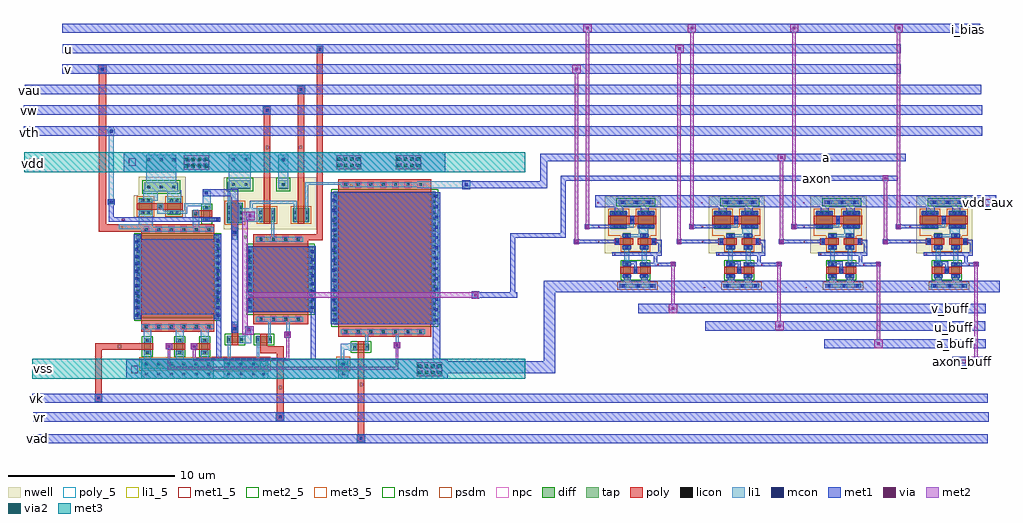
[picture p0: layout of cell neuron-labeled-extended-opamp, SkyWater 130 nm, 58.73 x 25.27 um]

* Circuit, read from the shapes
.subckt neuron-labeled-extended-opamp a a_buff axon axon_buff i_bias u u_buff v v_buff vad vau vdd vdd_aux vk vr vss vth vw
XM1 vss v vss vss sky130_fd_pr__nfet_01v8 w=5 l=4.4
XM2 v vk vss vss sky130_fd_pr__nfet_01v8 w=0.42 l=0.4
XM3 v a vss vss sky130_fd_pr__nfet_01v8 w=0.42 l=0.4
XM4 v u vss vss sky130_fd_pr__nfet_01v8 w=0.42 l=0.4
XM5 n1 v vth vss sky130_fd_pr__nfet_01v8 w=0.42 l=0.4
XM6 axon n1 vss vss sky130_fd_pr__nfet_01v8 w=0.42 l=0.4
XM7 vss u vss vss sky130_fd_pr__nfet_01v8 w=4 l=3.3
XM8 u vr vss vss sky130_fd_pr__nfet_01v8 w=0.42 l=0.4
XM9 vss a vss vss sky130_fd_pr__nfet_01v8 w=8 l=5.6
XM10 a vad vss vss sky130_fd_pr__nfet_01v8 w=0.42 l=0.4
XM11 n2 n2 vss vss sky130_fd_pr__nfet_01v8 w=0.5 l=0.4
XM12 v_buff n2 vss vss sky130_fd_pr__nfet_01v8 w=0.5 l=0.4
XM13 n3 n3 vss vss sky130_fd_pr__nfet_01v8 w=0.5 l=0.4
XM14 u_buff n3 vss vss sky130_fd_pr__nfet_01v8 w=0.5 l=0.4
XM15 n4 n4 vss vss sky130_fd_pr__nfet_01v8 w=0.5 l=0.4
XM16 a_buff n4 vss vss sky130_fd_pr__nfet_01v8 w=0.5 l=0.4
XM17 n5 n5 vss vss sky130_fd_pr__nfet_01v8 w=0.5 l=0.4
XM18 axon_buff n5 vss vss sky130_fd_pr__nfet_01v8 w=0.5 l=0.4
XM19 vdd n1 v vdd sky130_fd_pr__pfet_01v8 w=0.8 l=0.4
XM20 vdd n1 n1 vdd sky130_fd_pr__pfet_01v8 w=0.8 l=0.4
XM21 axon n1 vdd vdd sky130_fd_pr__pfet_01v8 w=1.2 l=0.4
XM22 u vw axon vdd sky130_fd_pr__pfet_01v8 w=0.8 l=0.4
XM23 a vau axon vdd sky130_fd_pr__pfet_01v8 w=0.8 l=0.4
XM24 vdd_aux i_bias i_bias vdd_aux sky130_fd_pr__pfet_01v8 w=1 l=0.5 m=4
XM25 n6 v n2 vdd_aux sky130_fd_pr__pfet_01v8 w=0.5 l=0.4
XM26 vdd_aux i_bias n6 vdd_aux sky130_fd_pr__pfet_01v8 w=1 l=0.5
XM27 n6 v_buff v_buff vdd_aux sky130_fd_pr__pfet_01v8 w=0.5 l=0.4
XM28 n7 u n3 vdd_aux sky130_fd_pr__pfet_01v8 w=0.5 l=0.4
XM29 vdd_aux i_bias n7 vdd_aux sky130_fd_pr__pfet_01v8 w=1 l=0.5
XM30 n7 u_buff u_buff vdd_aux sky130_fd_pr__pfet_01v8 w=0.5 l=0.4
XM31 n8 a n4 vdd_aux sky130_fd_pr__pfet_01v8 w=0.5 l=0.4
XM32 vdd_aux i_bias n8 vdd_aux sky130_fd_pr__pfet_01v8 w=1 l=0.5
XM33 n8 a_buff a_buff vdd_aux sky130_fd_pr__pfet_01v8 w=0.5 l=0.4
XM34 n9 axon n5 vdd_aux sky130_fd_pr__pfet_01v8 w=0.5 l=0.4
XM35 vdd_aux i_bias n9 vdd_aux sky130_fd_pr__pfet_01v8 w=1 l=0.5
XM36 n9 axon_buff axon_buff vdd_aux sky130_fd_pr__pfet_01v8 w=0.5 l=0.4
.ends

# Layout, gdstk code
from math import pi, radians
import gdstk
lib = gdstk.Library(unit=1e-6, precision=1e-09)
def R(c, l, rs):  # rectangles x0, y0, x1, y1
    for r in rs: c.add(gdstk.rectangle(r[:2], r[2:], *l))
def A(c, l, x, y, w, h, nx, ny, dx, dy):  # array of equal rectangles
    R(c, l, [(x+i*dx, y+j*dy, x+i*dx+w, y+j*dy+h) for i in range(nx) for j in range(ny)])
nwell = (64, 20)
diff = (65, 20)
tap = (65, 44)
poly_5 = (66, 5)
poly = (66, 20)
licon = (66, 44)
li1_5 = (67, 5)
li1 = (67, 20)
mcon = (67, 44)
met1_5 = (68, 5)
met1 = (68, 20)
via = (68, 44)
met2_5 = (69, 5)
met2 = (69, 20)
via2 = (69, 44)
met3_5 = (70, 5)
met3 = (70, 20)
nsdm = (93, 44)
psdm = (94, 20)
npc = (95, 20)

sky130_fd_pr__pfet_01v8_ = lib.new_cell('sky130_fd_pr__pfet_01v8_4ujh9u')
R(sky130_fd_pr__pfet_01v8_, nwell, [(-0.72,-0.99,0.72,0.82)])
R(sky130_fd_pr__pfet_01v8_, diff, [(-0.54,-0.68,0.54,0.32)])
R(sky130_fd_pr__pfet_01v8_, poly, [(-0.25,-0.81,0.25,0.805)])
A(sky130_fd_pr__pfet_01v8_, licon, -0.48, -0.605, 0.17, 0.17, 1, 3, 0, 0.34)
A(sky130_fd_pr__pfet_01v8_, licon, 0.31, -0.605, 0.17, 0.17, 1, 3, 0, 0.34)
R(sky130_fd_pr__pfet_01v8_, licon, [(-0.085,0.555,0.085,0.725)])
R(sky130_fd_pr__pfet_01v8_, li1, [(-0.48,-0.7,-0.31,0.34), (0.31,-0.7,0.48,0.34), (-0.25,0.555,0.25,0.725)])
R(sky130_fd_pr__pfet_01v8_, mcon, [(-0.48,-0.445,-0.31,-0.275), (0.31,-0.445,0.48,-0.275), (-0.48,-0.085,-0.31,0.085), (0.31,-0.085,0.48,0.085), (-0.085,0.555,0.085,0.725)])
R(sky130_fd_pr__pfet_01v8_, met1, [(-0.51,-0.68,-0.28,0.32), (0.28,-0.68,0.51,0.32), (-0.23,0.525,0.23,0.755)])
R(sky130_fd_pr__pfet_01v8_, psdm, [(-0.665,-0.805,0.665,0.445)])
R(sky130_fd_pr__pfet_01v8_, npc, [(-0.185,0.455,0.185,0.825)])

sky130_fd_pr__nfet_01v8_ = lib.new_cell('sky130_fd_pr__nfet_01v8_r0atdz')
R(sky130_fd_pr__nfet_01v8_, diff, [(-0.49,-0.405,0.49,0.095)])
R(sky130_fd_pr__nfet_01v8_, poly, [(-0.2,-0.535,0.2,0.535)])
R(sky130_fd_pr__nfet_01v8_, licon, [(-0.43,-0.24,-0.26,-0.07), (0.26,-0.24,0.43,-0.07), (-0.085,0.285,0.085,0.455)])
R(sky130_fd_pr__nfet_01v8_, li1, [(-0.43,-0.425,-0.26,0.115), (0.26,-0.425,0.43,0.115), (-0.2,0.285,0.2,0.455)])
R(sky130_fd_pr__nfet_01v8_, mcon, [(-0.43,-0.24,-0.26,-0.07), (0.26,-0.24,0.43,-0.07), (-0.085,0.285,0.085,0.455)])
R(sky130_fd_pr__nfet_01v8_, met1, [(-0.46,-0.405,-0.23,0.095), (0.23,-0.405,0.46,0.095), (-0.18,0.255,0.18,0.485)])
R(sky130_fd_pr__nfet_01v8_, nsdm, [(-0.615,-0.53,0.615,0.22)])
R(sky130_fd_pr__nfet_01v8_, npc, [(-0.185,0.185,0.185,0.555)])

c_sky130_fd_pr__pfet_01v8_ = lib.new_cell('sky130_fd_pr__pfet_01v8_4pknhj')
R(c_sky130_fd_pr__pfet_01v8_, nwell, [(-0.67,-0.74,0.67,0.57)])
R(c_sky130_fd_pr__pfet_01v8_, diff, [(-0.49,-0.43,0.49,0.07)])
R(c_sky130_fd_pr__pfet_01v8_, poly, [(-0.2,-0.56,0.2,0.555)])
R(c_sky130_fd_pr__pfet_01v8_, licon, [(-0.43,-0.265,-0.26,-0.095), (0.26,-0.265,0.43,-0.095), (-0.085,0.305,0.085,0.475)])
R(c_sky130_fd_pr__pfet_01v8_, li1, [(-0.43,-0.45,-0.26,0.09), (0.26,-0.45,0.43,0.09), (-0.2,0.305,0.2,0.475)])
R(c_sky130_fd_pr__pfet_01v8_, mcon, [(-0.43,-0.265,-0.26,-0.095), (0.26,-0.265,0.43,-0.095), (-0.085,0.305,0.085,0.475)])
R(c_sky130_fd_pr__pfet_01v8_, met1, [(-0.46,-0.43,-0.23,0.07), (0.23,-0.43,0.46,0.07), (-0.18,0.275,0.18,0.505)])
R(c_sky130_fd_pr__pfet_01v8_, psdm, [(-0.615,-0.555,0.615,0.195)])
R(c_sky130_fd_pr__pfet_01v8_, npc, [(-0.185,0.205,0.185,0.575)])

pmos_diff_amp = lib.new_cell('pmos-diff-amp')
R(pmos_diff_amp, nwell, [(-0.6,-0.025,2.785,3.395)])
R(pmos_diff_amp, tap, [(0.28,-2.11,2.465,-1.875), (0.23,2.91,2.33,3.17)])
R(pmos_diff_amp, licon, [(0.435,-2.075,0.605,-1.905), (1.335,-2.075,1.505,-1.905), (2.14,-2.075,2.31,-1.905), (0.405,2.95,0.575,3.12), (1.22,2.95,1.39,3.12), (1.97,2.95,2.14,3.12)])
R(pmos_diff_amp, li1, [(0.335,-2.095,0.71,-1.885), (1.235,-2.095,1.61,-1.885), (2.04,-2.095,2.415,-1.885), (0.58,-0.71,0.87,0.34), (1.64,-0.71,1.93,0.34), (0.92,0.93,1.575,0.975), (0.92,0.975,2.025,1.1), (1.44,1.1,2.025,1.565), (0.72,1.495,1.145,1.665), (0.975,1.665,1.145,1.805), (0.305,2.93,0.68,3.14), (1.12,2.93,1.495,3.14), (1.87,2.93,2.245,3.14)])
R(pmos_diff_amp, mcon, [(0.435,-2.075,0.605,-1.905), (1.335,-2.075,1.505,-1.905), (2.14,-2.075,2.31,-1.905), (0.405,2.95,0.575,3.12), (1.22,2.95,1.39,3.12), (1.97,2.95,2.14,3.12)])
R(pmos_diff_amp, met1_5, [(-0.88,-2.11,-0.81,-2.06), (2.57,-0.75,2.64,-0.7), (-0.03,-0.11,0.04,-0.06), (-1,0.64,-0.93,0.69), (-1,1.54,-0.93,1.59), (-1.04,2.99,-0.97,3.04)])
R(pmos_diff_amp, met1, [(-1.075,-2.385,3.515,-1.675), (0.565,-1.675,0.955,-1.385), (1.59,-1.675,1.98,-1.38), (1.17,-1.14,1.34,-0.685), (1.82,-0.8,2.815,-0.59), (0.455,-0.685,1.34,-0.515), (-0.135,-0.175,2.825,0.035), (2.615,0.035,2.825,0.57), (-1.065,0.57,0.19,0.78), (2.34,0.57,2.825,0.78), (-1.07,1.47,0.185,1.68), (0.015,2.345,0.51,2.745), (1.57,2.345,2.065,2.745), (-1.155,2.745,3.435,3.455)])
R(pmos_diff_amp, nsdm, [(1.105,-1.665,1.405,-0.435), (0.105,2.785,2.455,3.295)])
R(pmos_diff_amp, psdm, [(0.155,-2.235,2.59,-1.75), (1.105,0.055,1.405,1.285), (-0.385,1.015,0.355,1.285), (2.155,1.015,2.505,1.285), (-0.385,1.285,2.505,1.31), (0.865,1.31,1.255,1.58)])
pmos_diff_amp.add(gdstk.Reference(sky130_fd_pr__pfet_01v8_, (0.42,1.975), rotation=3*pi/2))
pmos_diff_amp.add(gdstk.Reference(sky130_fd_pr__pfet_01v8_, (1.7,1.975), rotation=pi/2))
pmos_diff_amp.add(gdstk.Reference(sky130_fd_pr__nfet_01v8_, (0.885,-1.05), rotation=3*pi/2))
pmos_diff_amp.add(gdstk.Reference(sky130_fd_pr__nfet_01v8_, (1.625,-1.05), rotation=pi/2))
pmos_diff_amp.add(gdstk.Reference(c_sky130_fd_pr__pfet_01v8_, (0.55,0.67), rotation=pi/2))
pmos_diff_amp.add(gdstk.Reference(c_sky130_fd_pr__pfet_01v8_, (1.96,0.67), rotation=3*pi/2))
pmos_diff_amp.add(gdstk.Label('in_1', (-0.965,0.665), layer=68, texttype=5))
pmos_diff_amp.add(gdstk.Label('in_2', (0.005,-0.085), layer=68, texttype=5))
pmos_diff_amp.add(gdstk.Label('out', (2.605,-0.725), layer=68, texttype=5))
pmos_diff_amp.add(gdstk.Label('i_bias', (-0.965,1.565), layer=68, texttype=5))
pmos_diff_amp.add(gdstk.Label('vdd', (-1.005,3.015), layer=68, texttype=5))
pmos_diff_amp.add(gdstk.Label('vss', (-0.845,-2.085), layer=68, texttype=5))

c_sky130_fd_pr__pfet_01v8__ = lib.new_cell('sky130_fd_pr__pfet_01v8_zt2j7p')
R(c_sky130_fd_pr__pfet_01v8__, nwell, [(-0.67,-0.91,0.67,0.91)])
R(c_sky130_fd_pr__pfet_01v8__, diff, [(-0.49,-0.6,0.49,0.6)])
R(c_sky130_fd_pr__pfet_01v8__, poly, [(-0.2,-0.73,0.2,0.73)])
A(c_sky130_fd_pr__pfet_01v8__, licon, -0.43, -0.425, 0.17, 0.17, 1, 3, 0, 0.34)
A(c_sky130_fd_pr__pfet_01v8__, licon, 0.26, -0.425, 0.17, 0.17, 1, 3, 0, 0.34)
R(c_sky130_fd_pr__pfet_01v8__, li1, [(-0.43,-0.62,-0.26,0.62), (0.26,-0.62,0.43,0.62)])
R(c_sky130_fd_pr__pfet_01v8__, psdm, [(-0.615,-0.725,0.615,0.725)])

c_sky130_fd_pr__nfet_01v8_ = lib.new_cell('sky130_fd_pr__nfet_01v8_ckptud')
R(c_sky130_fd_pr__nfet_01v8_, diff, [(-0.49,-0.21,0.49,0.21)])
R(c_sky130_fd_pr__nfet_01v8_, poly, [(-0.2,-0.34,0.2,0.34)])
R(c_sky130_fd_pr__nfet_01v8_, licon, [(-0.43,-0.085,-0.26,0.085), (0.26,-0.085,0.43,0.085)])
R(c_sky130_fd_pr__nfet_01v8_, li1, [(-0.43,-0.23,-0.26,0.23), (0.26,-0.23,0.43,0.23)])
R(c_sky130_fd_pr__nfet_01v8_, nsdm, [(-0.615,-0.335,0.615,0.335)])

c_sky130_fd_pr__nfet_01v8__ = lib.new_cell('sky130_fd_pr__nfet_01v8_h43ndc')
R(c_sky130_fd_pr__nfet_01v8__, diff, [(-0.49,-0.21,0.49,0.21)])
R(c_sky130_fd_pr__nfet_01v8__, poly, [(-0.2,-0.34,0.2,0.34)])
R(c_sky130_fd_pr__nfet_01v8__, licon, [(-0.43,-0.085,-0.26,0.085), (0.26,-0.085,0.43,0.085)])
R(c_sky130_fd_pr__nfet_01v8__, li1, [(-0.43,-0.23,-0.26,0.23), (0.26,-0.23,0.43,0.23)])
R(c_sky130_fd_pr__nfet_01v8__, nsdm, [(-0.615,-0.335,0.615,0.335)])

c_sky130_fd_pr__nfet_01v8___ = lib.new_cell('sky130_fd_pr__nfet_01v8_s3efqo')
R(c_sky130_fd_pr__nfet_01v8___, diff, [(-0.49,-0.21,0.49,0.21)])
R(c_sky130_fd_pr__nfet_01v8___, poly, [(-0.2,-0.34,0.2,0.34)])
R(c_sky130_fd_pr__nfet_01v8___, licon, [(-0.43,-0.085,-0.26,0.085), (0.26,-0.085,0.43,0.085)])
R(c_sky130_fd_pr__nfet_01v8___, li1, [(-0.43,-0.23,-0.26,0.23), (0.26,-0.23,0.43,0.23)])
R(c_sky130_fd_pr__nfet_01v8___, nsdm, [(-0.615,-0.335,0.615,0.335)])

c_sky130_fd_pr__nfet_01v8____ = lib.new_cell('sky130_fd_pr__nfet_01v8_zgaw3c')
R(c_sky130_fd_pr__nfet_01v8____, diff, [(-0.49,-0.21,0.49,0.21)])
R(c_sky130_fd_pr__nfet_01v8____, poly, [(-0.2,-0.34,0.2,0.34)])
R(c_sky130_fd_pr__nfet_01v8____, licon, [(-0.43,-0.085,-0.26,0.085), (0.26,-0.085,0.43,0.085)])
R(c_sky130_fd_pr__nfet_01v8____, li1, [(-0.43,-0.23,-0.26,0.23), (0.26,-0.23,0.43,0.23)])
R(c_sky130_fd_pr__nfet_01v8____, nsdm, [(-0.615,-0.335,0.615,0.335)])

c_sky130_fd_pr__pfet_01v8___ = lib.new_cell('sky130_fd_pr__pfet_01v8_u061qr')
R(c_sky130_fd_pr__pfet_01v8___, nwell, [(-0.67,-0.71,0.67,0.71)])
R(c_sky130_fd_pr__pfet_01v8___, diff, [(-0.49,-0.4,0.49,0.4)])
R(c_sky130_fd_pr__pfet_01v8___, poly, [(-0.2,-0.53,0.2,0.53)])
R(c_sky130_fd_pr__pfet_01v8___, licon, [(-0.43,-0.255,-0.26,-0.085), (0.26,-0.255,0.43,-0.085), (-0.43,0.085,-0.26,0.255), (0.26,0.085,0.43,0.255)])
R(c_sky130_fd_pr__pfet_01v8___, li1, [(-0.43,-0.42,-0.26,0.42), (0.26,-0.42,0.43,0.42)])
R(c_sky130_fd_pr__pfet_01v8___, psdm, [(-0.615,-0.525,0.615,0.525)])

c_sky130_fd_pr__nfet_01v8_____ = lib.new_cell('sky130_fd_pr__nfet_01v8_lca7f7')
R(c_sky130_fd_pr__nfet_01v8_____, diff, [(-0.49,-0.21,0.49,0.21)])
R(c_sky130_fd_pr__nfet_01v8_____, poly, [(-0.2,-0.34,0.2,0.34)])
R(c_sky130_fd_pr__nfet_01v8_____, licon, [(-0.43,-0.085,-0.26,0.085), (0.26,-0.085,0.43,0.085)])
R(c_sky130_fd_pr__nfet_01v8_____, li1, [(-0.43,-0.23,-0.26,0.23), (0.26,-0.23,0.43,0.23)])
R(c_sky130_fd_pr__nfet_01v8_____, nsdm, [(-0.615,-0.335,0.615,0.335)])

c_sky130_fd_pr__nfet_01v8______ = lib.new_cell('sky130_fd_pr__nfet_01v8_9hqhhq')
R(c_sky130_fd_pr__nfet_01v8______, diff, [(-2.49,-2.5,2.49,2.5)])
R(c_sky130_fd_pr__nfet_01v8______, poly, [(-2.2,-2.63,2.2,2.63)])
A(c_sky130_fd_pr__nfet_01v8______, licon, -2.43, -2.295, 0.17, 0.17, 1, 14, 0, 0.34)
A(c_sky130_fd_pr__nfet_01v8______, licon, 2.26, -2.295, 0.17, 0.17, 1, 14, 0, 0.34)
R(c_sky130_fd_pr__nfet_01v8______, li1, [(-2.43,-2.52,-2.26,2.52), (2.26,-2.52,2.43,2.52)])
R(c_sky130_fd_pr__nfet_01v8______, nsdm, [(-2.615,-2.625,2.615,2.625)])

c_sky130_fd_pr__pfet_01v8____ = lib.new_cell('sky130_fd_pr__pfet_01v8_h2n75u')
R(c_sky130_fd_pr__pfet_01v8____, nwell, [(-0.67,-0.71,0.67,0.71)])
R(c_sky130_fd_pr__pfet_01v8____, diff, [(-0.49,-0.4,0.49,0.4)])
R(c_sky130_fd_pr__pfet_01v8____, poly, [(-0.2,-0.53,0.2,0.53)])
R(c_sky130_fd_pr__pfet_01v8____, licon, [(-0.43,-0.255,-0.26,-0.085), (0.26,-0.255,0.43,-0.085), (-0.43,0.085,-0.26,0.255), (0.26,0.085,0.43,0.255)])
R(c_sky130_fd_pr__pfet_01v8____, li1, [(-0.43,-0.42,-0.26,0.42), (0.26,-0.42,0.43,0.42)])
R(c_sky130_fd_pr__pfet_01v8____, psdm, [(-0.615,-0.525,0.615,0.525)])

c_sky130_fd_pr__pfet_01v8_____ = lib.new_cell('sky130_fd_pr__pfet_01v8_6z4qh8')
R(c_sky130_fd_pr__pfet_01v8_____, nwell, [(-0.67,-0.71,0.67,0.71)])
R(c_sky130_fd_pr__pfet_01v8_____, diff, [(-0.49,-0.4,0.49,0.4)])
R(c_sky130_fd_pr__pfet_01v8_____, poly, [(-0.2,-0.53,0.2,0.53)])
R(c_sky130_fd_pr__pfet_01v8_____, licon, [(-0.43,-0.255,-0.26,-0.085), (0.26,-0.255,0.43,-0.085), (-0.43,0.085,-0.26,0.255), (0.26,0.085,0.43,0.255)])
R(c_sky130_fd_pr__pfet_01v8_____, li1, [(-0.43,-0.42,-0.26,0.42), (0.26,-0.42,0.43,0.42)])
R(c_sky130_fd_pr__pfet_01v8_____, psdm, [(-0.615,-0.525,0.615,0.525)])

c_sky130_fd_pr__nfet_01v8_______ = lib.new_cell('sky130_fd_pr__nfet_01v8_9i6r5e')
R(c_sky130_fd_pr__nfet_01v8_______, diff, [(-0.49,-0.21,0.49,0.21)])
R(c_sky130_fd_pr__nfet_01v8_______, poly, [(-0.2,-0.34,0.2,0.34)])
R(c_sky130_fd_pr__nfet_01v8_______, licon, [(-0.43,-0.085,-0.26,0.085), (0.26,-0.085,0.43,0.085)])
R(c_sky130_fd_pr__nfet_01v8_______, li1, [(-0.43,-0.23,-0.26,0.23), (0.26,-0.23,0.43,0.23)])
R(c_sky130_fd_pr__nfet_01v8_______, nsdm, [(-0.615,-0.335,0.615,0.335)])

c_sky130_fd_pr__pfet_01v8______ = lib.new_cell('sky130_fd_pr__pfet_01v8_2vaynq')
R(c_sky130_fd_pr__pfet_01v8______, nwell, [(-0.67,-0.71,0.67,0.71)])
R(c_sky130_fd_pr__pfet_01v8______, diff, [(-0.49,-0.4,0.49,0.4)])
R(c_sky130_fd_pr__pfet_01v8______, poly, [(-0.2,-0.53,0.2,0.53)])
R(c_sky130_fd_pr__pfet_01v8______, licon, [(-0.43,-0.255,-0.26,-0.085), (0.26,-0.255,0.43,-0.085), (-0.43,0.085,-0.26,0.255), (0.26,0.085,0.43,0.255)])
R(c_sky130_fd_pr__pfet_01v8______, li1, [(-0.43,-0.42,-0.26,0.42), (0.26,-0.42,0.43,0.42)])
R(c_sky130_fd_pr__pfet_01v8______, psdm, [(-0.615,-0.525,0.615,0.525)])

c_sky130_fd_pr__nfet_01v8________ = lib.new_cell('sky130_fd_pr__nfet_01v8_tb02ql')
R(c_sky130_fd_pr__nfet_01v8________, diff, [(-3.09,-4,3.09,4)])
R(c_sky130_fd_pr__nfet_01v8________, poly, [(-2.8,-4.13,2.8,4.13)])
A(c_sky130_fd_pr__nfet_01v8________, licon, -3.03, -3.825, 0.17, 0.17, 1, 23, 0, 0.34)
A(c_sky130_fd_pr__nfet_01v8________, licon, 2.86, -3.825, 0.17, 0.17, 1, 23, 0, 0.34)
R(c_sky130_fd_pr__nfet_01v8________, li1, [(-3.03,-4.02,-2.86,4.02), (2.86,-4.02,3.03,4.02)])
R(c_sky130_fd_pr__nfet_01v8________, nsdm, [(-3.215,-4.125,3.215,4.125)])

c_sky130_fd_pr__nfet_01v8_________ = lib.new_cell('sky130_fd_pr__nfet_01v8_wpylm8')
R(c_sky130_fd_pr__nfet_01v8_________, diff, [(-1.94,-2,1.94,2)])
R(c_sky130_fd_pr__nfet_01v8_________, poly, [(-1.65,-2.13,1.65,2.13)])
A(c_sky130_fd_pr__nfet_01v8_________, licon, -1.88, -1.785, 0.17, 0.17, 1, 11, 0, 0.34)
A(c_sky130_fd_pr__nfet_01v8_________, licon, 1.71, -1.785, 0.17, 0.17, 1, 11, 0, 0.34)
R(c_sky130_fd_pr__nfet_01v8_________, li1, [(-1.88,-2.02,-1.71,2.02), (1.71,-2.02,1.88,2.02)])
R(c_sky130_fd_pr__nfet_01v8_________, nsdm, [(-2.065,-2.125,2.065,2.125)])

c_sky130_fd_pr__nfet_01v8__________ = lib.new_cell('sky130_fd_pr__nfet_01v8_dlksd1')
R(c_sky130_fd_pr__nfet_01v8__________, diff, [(-0.49,-0.21,0.49,0.21)])
R(c_sky130_fd_pr__nfet_01v8__________, poly, [(-0.2,-0.34,0.2,0.34)])
R(c_sky130_fd_pr__nfet_01v8__________, licon, [(-0.43,-0.085,-0.26,0.085), (0.26,-0.085,0.43,0.085)])
R(c_sky130_fd_pr__nfet_01v8__________, li1, [(-0.43,-0.23,-0.26,0.23), (0.26,-0.23,0.43,0.23)])
R(c_sky130_fd_pr__nfet_01v8__________, nsdm, [(-0.615,-0.335,0.615,0.335)])

neuron_labeled = lib.new_cell('neuron-labeled')
R(neuron_labeled, nwell, [(4.65,6.3,10.255,9.45), (0.6,7.015,1.025,7.8), (-0.215,7.8,2.385,8.02), (-0.46,8.02,2.385,9.465)])
R(neuron_labeled, tap, [(4.65,-2.1,7.35,-1.95), (11.55,-2.1,12.15,-1.5), (-0.285,-2.08,4.065,-1.515), (4.65,-1.95,6.9,-1.65), (7.2,-1.95,7.35,-1.65), (4.65,-1.65,7.35,-1.5), (-0.115,8.565,1.925,9.13), (4.97,8.72,6.3,9.27), (7.95,8.72,8.55,9.27)])
R(neuron_labeled, poly_5, [(7.97,-3.32,8.16,-3.12), (12.84,-3.14,13.03,-2.94), (-1.71,-0.85,-1.52,-0.65), (7.18,11.13,7.37,11.33), (9.21,11.15,9.4,11.35)])
R(neuron_labeled, poly, [(7.86,-3.39,8.26,-1.14), (12.725,-3.255,13.125,-0.96), (6.87,-1.14,8.26,-0.74), (-1.82,-0.94,-0.145,-0.54), (1.35,-0.94,1.76,-0.875), (2.845,-0.94,3.275,-0.88), (2.715,-0.88,3.275,-0.61), (1.205,-0.875,1.76,-0.605), (14.92,-0.795,15.25,-0.525), (6.87,-0.74,7.27,-0.535), (2.845,-0.61,3.275,-0.54), (1.35,-0.605,1.76,-0.54), (8.345,-0.155,8.675,0.115), (11.54,-0.15,17.14,0.54), (5.13,-0.045,5.53,0.605), (-0.31,0.13,4.09,0.83), (6.435,0.6,9.735,1.235), (6.435,5.365,9.735,6), (5.125,5.93,5.525,6.62), (-0.31,6.01,4.09,6.6), (2.755,7.04,3.4,7.44), (0.175,7.485,1.21,7.885), (7.07,7.56,7.47,11.47), (9.115,7.56,9.515,11.47), (11.54,8.65,17.14,9.33)])
A(neuron_labeled, licon, -0.085, -1.885, 0.17, 0.17, 4, 1, 0.75, 0)
A(neuron_labeled, licon, 4.865, -1.885, 0.17, 0.17, 3, 1, 0.75, 0)
A(neuron_labeled, licon, 11.915, 0.065, 0.17, 0.17, 7, 2, 0.75, 8.85)
A(neuron_labeled, licon, -0.085, 0.365, 0.17, 0.17, 6, 2, 0.75, 5.85)
A(neuron_labeled, licon, 6.815, 0.815, 0.17, 0.17, 4, 2, 0.75, 4.8)
R(neuron_labeled, licon, [(3.655,-1.89,3.825,-1.72), (2.905,-1.885,3.075,-1.715), (11.765,-1.885,11.935,-1.715), (2.795,-0.83,2.965,-0.66), (1.285,-0.825,1.455,-0.655), (15,-0.745,15.17,-0.575), (8.425,-0.105,8.595,0.065), (5.245,0.235,5.415,0.405), (5.24,6.06,5.41,6.23), (2.9,7.155,3.07,7.325), (0.745,7.585,0.915,7.755), (0.065,8.765,0.235,8.935), (0.81,8.765,0.98,8.935), (1.575,8.77,1.745,8.94), (5.165,8.915,5.335,9.085), (5.915,8.915,6.085,9.085), (8.165,8.915,8.335,9.085)])
R(neuron_labeled, li1_5, [(7.19,5.64,7.335,5.785), (-1.52,6.36,-1.375,6.505), (12.27,8.905,12.415,9.05)])
A(neuron_labeled, li1, 11.1, 0.75, 0.31, 0.205, 1, 13, 0, 0.6)
A(neuron_labeled, li1, 11.1, 0.955, 0.305, 0.395, 1, 13, 0, 0.6)
R(neuron_labeled, li1, [(-0.3,-2.7,4.05,-1.5), (4.65,-2.7,7.35,-1.5), (11.55,-2.7,12.15,-1.5), (-0.165,-1.5,0.295,-1.065), (1.78,-1.5,2.24,-1.07), (3.29,-1.5,3.75,-1.055), (4.9,-1.5,5.075,-0.435), (6.635,-1.5,6.81,-0.535), (11.7,-1.5,11.915,-0.955), (12.18,-1.005,12.545,-0.955), (11.7,-0.955,12.545,-0.59), (2.69,-0.92,3.075,-0.56), (1.18,-0.915,1.565,-0.555), (14.89,-0.845,15.275,-0.485), (13.185,-0.62,13.355,0), (12.18,-0.59,12.545,-0.545), (6.05,-0.55,6.33,-0.545), (5.66,-0.545,6.33,-0.09), (15,-0.485,15.185,0), (1.775,-0.39,2.245,0.3), (3.285,-0.38,3.745,0.3), (-0.165,-0.375,0.295,0.3), (7.33,-0.21,7.5,0.75), (8.315,-0.205,8.7,0.155), (6.05,-0.09,6.33,0.4), (11.7,0,16.8,0.3), (5.185,0.07,5.48,0.75), (8.415,0.155,8.63,0.75), (-0.3,0.3,4.05,0.6), (11.1,0.6,11.405,0.75), (17.34,0.6,17.7,8.55), (6.6,0.75,9.45,1.05), (-0.75,0.9,-0.45,6), (4.2,0.9,4.5,6), (6,1.285,6.375,5.325), (9.795,1.285,10.2,5.325), (6.6,5.55,9.45,5.85), (5.185,5.685,5.48,6.42), (7.53,5.85,7.7,6.895), (-0.3,6.15,4.05,6.3), (-1.65,6.3,4.05,6.45), (-1.65,6.45,0.375,6.6), (2.785,6.45,3.185,7.44), (-0.465,6.6,0.375,7.32), (5.585,6.75,7.01,7.58), (3.835,6.81,4.365,6.98), (0.66,7.23,1.01,7.255), (0.66,7.255,1.28,7.425), (1.95,7.255,2.46,7.425), (9.575,7.355,9.745,8.975), (8.885,7.4,9.055,7.845), (0.66,7.425,1.01,7.86), (2.29,7.425,2.46,7.7), (2.835,7.44,3.135,7.47), (3.41,7.5,3.875,7.585), (6.235,7.58,6.405,7.845), (3.405,7.585,3.885,7.7), (2.29,7.7,3.885,7.87), (4.895,7.745,5.065,8.765), (6.235,7.845,9.055,8.015), (3.405,7.87,3.885,8.64), (1.255,8.02,2.1,8.605), (-0.17,8.04,0.675,8.605), (-0.17,8.605,2.1,8.665), (-0.17,8.665,1.885,8.685), (-0.08,8.685,1.885,9.085), (4.895,8.765,6.3,9.16), (7.95,8.765,8.55,10.8), (11.7,8.85,16.8,8.975), (9.575,8.975,16.8,9.145), (0,9.085,1.8,10.8), (11.7,9.145,16.8,9.15), (4.95,9.16,6.3,10.8)])
A(neuron_labeled, mcon, -0.085, -2.485, 0.17, 0.17, 6, 1, 0.75, 0)
A(neuron_labeled, mcon, 4.865, -2.485, 0.17, 0.17, 3, 1, 0.75, 0)
A(neuron_labeled, mcon, 11.205, 0.765, 0.17, 0.17, 1, 13, 0, 0.6)
A(neuron_labeled, mcon, 17.38, 0.765, 0.17, 0.17, 1, 13, 0, 0.62)
A(neuron_labeled, mcon, -0.665, 1.06, 0.17, 0.17, 1, 11, 0, 0.44)
A(neuron_labeled, mcon, 4.25, 1.06, 0.17, 0.17, 1, 11, 0, 0.445)
A(neuron_labeled, mcon, 6.1, 1.515, 0.17, 0.17, 1, 8, 0, 0.48)
A(neuron_labeled, mcon, 9.925, 1.515, 0.17, 0.17, 1, 8, 0, 0.48)
A(neuron_labeled, mcon, 0.065, 10.415, 0.17, 0.17, 3, 1, 0.75, 0)
R(neuron_labeled, mcon, [(6.965,-2.485,7.135,-2.315), (11.765,-2.485,11.935,-2.315), (2.795,-0.83,2.965,-0.66), (1.285,-0.825,1.455,-0.655), (15,-0.745,15.17,-0.575), (8.425,-0.105,8.595,0.065), (6.1,0.175,6.27,0.345), (5.245,0.235,5.415,0.405), (5.24,6.05,5.41,6.22), (4.195,6.81,4.365,6.98), (6.16,7.05,6.33,7.22), (3.515,8.41,3.685,8.58), (5.165,10.415,5.335,10.585), (5.915,10.415,6.085,10.585), (8.165,10.415,8.335,10.585)])
R(neuron_labeled, met1_5, [(-0.92,-2.35,-0.51,-1.91), (-1.48,6.81,-1.3,6.95), (-1.05,10.13,-0.64,10.57)])
R(neuron_labeled, met1, [(-1.2,-2.7,18.15,-1.5), (4.2,-1.5,4.5,0.9), (9.9,-1.5,10.2,1.35), (17.25,-1.5,17.7,0.6), (2.69,-0.92,3.075,-0.56), (1.18,-0.915,1.565,-0.555), (14.89,-0.845,15.275,-0.485), (8.315,-0.205,8.7,0.155), (5.94,-0.03,6.455,0.485), (5.125,0.07,5.535,8.305), (11.1,0.6,17.7,8.55), (-0.75,0.9,-0.3,1.2), (4.05,0.9,4.5,1.2), (-0.75,1.2,4.5,5.7), (6,1.35,10.2,5.25), (-0.75,5.7,-0.3,6), (4.05,5.7,4.5,6), (-1.65,6.75,4.45,7.04), (6,6.845,6.515,7.36), (3.395,8.305,5.535,8.715), (-1.35,9.75,18,10.95)])
R(neuron_labeled, via, [(2.805,-0.82,2.955,-0.67), (1.295,-0.815,1.445,-0.665), (15.01,-0.735,15.16,-0.585), (8.435,-0.095,8.585,0.055), (6.115,0.165,6.265,0.315), (6.175,7.04,6.325,7.19)])
R(neuron_labeled, met2_5, [(5.89,5.775,6.035,5.92)])
R(neuron_labeled, met2, [(1.285,-2.13,15.175,-1.96), (1.285,-1.96,1.455,-0.915), (15.005,-1.96,15.175,-0.845), (2.795,-1.595,8.6,-1.425), (2.795,-1.425,2.965,-0.92), (8.43,-1.425,8.6,-0.205), (2.69,-0.92,3.075,-0.56), (1.18,-0.915,1.565,-0.555), (14.89,-0.845,15.275,-0.485), (8.315,-0.205,8.7,0.155), (5.785,-0.03,6.455,0.485), (5.785,0.485,6.105,6.845), (5.785,6.845,6.515,7.36)])
R(neuron_labeled, nsdm, [(-0.24,8.44,2.05,9.255), (4.845,8.595,6.425,9.395), (7.825,8.595,8.675,9.395)])
R(neuron_labeled, psdm, [(3.92,-2.225,7.475,-2.205), (11.425,-2.225,12.275,-1.375), (-0.41,-2.205,7.475,-1.39), (3.92,-1.39,7.475,-1.375)])
A(neuron_labeled, npc, 11.815, -0.035, 0.37, 0.37, 7, 2, 0.75, 8.85)
A(neuron_labeled, npc, -0.185, 0.265, 0.37, 0.37, 6, 2, 0.75, 5.85)
A(neuron_labeled, npc, 6.715, 0.715, 0.37, 0.37, 4, 2, 0.75, 4.8)
R(neuron_labeled, npc, [(2.695,-0.93,3.065,-0.56), (1.185,-0.925,1.555,-0.555), (14.9,-0.845,15.27,-0.475), (8.325,-0.205,8.695,0.165), (5.145,0.135,5.515,0.505), (5.14,5.96,5.51,6.33), (2.8,7.055,3.17,7.425), (0.645,7.485,1.015,7.855)])
neuron_labeled.add(gdstk.Reference(c_sky130_fd_pr__pfet_01v8__, (5.325,7.3)))
neuron_labeled.add(gdstk.Reference(c_sky130_fd_pr__nfet_01v8_, (5.33,-0.32)))
neuron_labeled.add(gdstk.Reference(c_sky130_fd_pr__nfet_01v8__, (3.515,-0.74), rotation=3*pi/2))
neuron_labeled.add(gdstk.Reference(c_sky130_fd_pr__nfet_01v8___, (2.01,-0.74), rotation=3*pi/2))
neuron_labeled.add(gdstk.Reference(c_sky130_fd_pr__nfet_01v8____, (0.065,-0.74), rotation=3*pi/2))
neuron_labeled.add(gdstk.Reference(c_sky130_fd_pr__pfet_01v8___, (1.675,7.685), rotation=3*pi/2))
neuron_labeled.add(gdstk.Reference(c_sky130_fd_pr__nfet_01v8_____, (3.64,7.24), rotation=3*pi/2))
neuron_labeled.add(gdstk.Reference(c_sky130_fd_pr__nfet_01v8______, (1.89,3.44)))
neuron_labeled.add(gdstk.Reference(c_sky130_fd_pr__pfet_01v8____, (-0.04,7.685), rotation=3*pi/2))
neuron_labeled.add(gdstk.Reference(c_sky130_fd_pr__pfet_01v8_____, (9.315,7.16)))
neuron_labeled.add(gdstk.Reference(c_sky130_fd_pr__nfet_01v8_______, (7.07,-0.325)))
neuron_labeled.add(gdstk.Reference(c_sky130_fd_pr__pfet_01v8______, (7.27,7.16)))
neuron_labeled.add(gdstk.Reference(c_sky130_fd_pr__nfet_01v8________, (14.34,4.58)))
neuron_labeled.add(gdstk.Reference(c_sky130_fd_pr__nfet_01v8_________, (8.085,3.305)))
neuron_labeled.add(gdstk.Reference(c_sky130_fd_pr__nfet_01v8__________, (12.925,-0.775)))
neuron_labeled.add(gdstk.Label('VPWR', (-0.845,10.35), layer=68, texttype=5))
neuron_labeled.add(gdstk.Label('VGND', (-0.715,-2.13), layer=68, texttype=5))
neuron_labeled.add(gdstk.Label('vth', (-1.39,6.88), layer=68, texttype=5))
neuron_labeled.add(gdstk.Label('vk', (-1.615,-0.75), layer=66, texttype=5))
neuron_labeled.add(gdstk.Label('vw', (7.275,11.23), layer=66, texttype=5))
neuron_labeled.add(gdstk.Label('vr', (8.065,-3.22), layer=66, texttype=5))
neuron_labeled.add(gdstk.Label('vau', (9.305,11.25), layer=66, texttype=5))
neuron_labeled.add(gdstk.Label('vad', (12.935,-3.04), layer=66, texttype=5))
neuron_labeled.add(gdstk.Label('v', (-1.447,6.432), layer=67, texttype=5))
neuron_labeled.add(gdstk.Label('u#', (7.262,5.712), layer=67, texttype=5))
neuron_labeled.add(gdstk.Label('a#', (12.342,8.977), layer=67, texttype=5))
neuron_labeled.add(gdstk.Label('axon', (5.962,5.847), layer=69, texttype=5))

neuron_labeled_extended_ = lib.new_cell('neuron-labeled-extended-opamp')
R(neuron_labeled_extended_, poly, [(14.545,-3.115,14.945,0.29), (9.68,-1.82,10.08,0.26), (-1.255,-0.68,-0.855,2.45), (-1.255,2.45,0.19,2.85), (11.33,9.03,12.45,9.39), (12.09,9.39,12.45,20.75), (-1.045,9.54,2.13,9.99), (-1.045,9.99,-0.595,19.585), (10.935,14.54,11.335,18.34), (8.89,14.565,9.29,17.085)])
R(neuron_labeled_extended_, licon, [(14.66,-2.97,14.83,-2.8), (9.795,-1.675,9.965,-1.505), (-1.14,-0.535,-0.97,-0.365), (9.005,16.77,9.175,16.94), (11.05,18.025,11.22,18.195), (-0.905,19.245,-0.735,19.415), (12.185,20.455,12.355,20.625)])
R(neuron_labeled_extended_, li1, [(14.49,-3.13,14.99,-2.68), (9.62,-1.85,10.12,-1.36), (-1.29,-0.69,-0.82,-0.24), (21.42,5.575,21.79,5.9), (-0.45,11.21,-0.14,11.385), (-0.45,11.385,-0.125,15.44), (18.14,12.17,21.31,12.6), (-0.49,15.44,-0.09,15.75), (-0.45,15.75,-0.125,15.89), (8.83,16.63,9.32,17.1), (10.89,17.88,11.38,18.35), (-1.1,19.08,-0.55,19.59), (12.07,20.33,12.47,20.75)])
R(neuron_labeled_extended_, mcon, [(14.66,-2.98,14.83,-2.81), (9.79,-1.68,9.96,-1.51), (-1.14,-0.54,-0.97,-0.37), (21.545,5.655,21.715,5.825), (-0.38,11.255,-0.21,11.425), (20.985,12.3,21.155,12.47), (-0.375,15.51,-0.205,15.68), (9,16.77,9.17,16.94), (11.05,18.03,11.22,18.2), (-0.91,19.25,-0.74,19.42), (12.19,20.46,12.36,20.63)])
R(neuron_labeled_extended_, met1_5, [(-4.85,-3,-4.56,-2.79), (-4.78,-1.75,-4.49,-1.54), (-4.93,-0.61,-4.64,-0.4), (50.74,1.65,51.14,1.86), (50.34,2.7,50.74,2.91), (50.2,3.67,50.6,3.88), (50.02,4.85,50.42,5.06), (52.32,11.15,52.67,11.5), (42.11,12.65,42.36,12.8), (42.63,13.87,42.92,14.12), (-5.35,15.47,-5.1,15.62), (-5.32,16.75,-5.07,16.9), (-5.32,17.93,-5.07,18.15), (-2.99,19.2,-2.74,19.43), (-2.98,20.45,-2.73,20.6), (51.09,21.64,51.49,21.85)])
R(neuron_labeled_extended_, met1, [(-5.06,-3.19,52.46,-2.63), (-4.99,-1.88,52.52,-1.32), (-5.055,-0.74,52.455,-0.19), (18.05,0.89,19.68,1.045), (17.865,1.045,26.445,1.755), (50.31,1.465,52.38,2.025), (25.735,1.755,26.445,5.9), (42.62,2.525,52.34,3.085), (35.46,3.59,52.31,4.15), (31.42,4.65,52.34,5.21), (21.41,5.515,21.86,5.575), (21.41,5.575,24.15,5.9), (21.41,5.9,21.86,5.97), (23.735,5.9,24.025,9.185), (25.735,5.9,53.165,6.61), (33.35,7.46,33.67,7.485), (39.73,7.46,40.05,7.485), (45.71,7.46,46.03,7.485), (51.59,7.46,51.91,7.485), (32.365,7.485,32.575,8.205), (32.61,7.485,33.67,7.695), (38.585,7.485,38.795,8.275), (38.86,7.485,40.05,7.695), (44.695,7.485,44.905,8.255), (44.975,7.485,46.03,7.695), (51.055,7.485,51.265,8.235), (51.295,7.485,51.91,7.695), (33.35,7.695,33.67,7.72), (39.73,7.695,40.05,7.72), (45.71,7.695,46.03,7.72), (51.59,7.695,51.91,7.72), (27.54,8.83,27.86,8.855), (33.73,8.83,34.05,8.855), (39.89,8.83,40.21,8.855), (46.14,8.83,46.46,8.855), (27.54,8.855,29.165,9.065), (33.73,8.855,35.445,9.065), (39.89,8.855,41.705,9.065), (46.14,8.855,47.975,9.065), (27.54,9.065,27.86,9.09), (33.73,9.065,34.05,9.09), (39.89,9.065,40.21,9.09), (46.14,9.065,46.46,9.09), (23.735,9.185,27.065,9.475), (26.775,9.475,27.065,12.62), (28.2,9.73,28.52,9.755), (34.49,9.73,34.81,9.755), (40.64,9.73,40.96,9.755), (46.92,9.73,47.24,9.755), (28.2,9.755,29.155,9.965), (34.49,9.755,35.465,9.965), (40.64,9.755,41.685,9.965), (46.92,9.755,48.015,9.965), (28.2,9.965,28.52,9.99), (34.49,9.965,34.81,9.99), (40.64,9.965,40.96,9.99), (46.92,9.965,47.24,9.99), (-0.435,10.14,0.46,10.43), (-0.435,10.43,-0.145,11.18), (32.73,11.03,52.975,11.74), (-0.51,11.18,-0.08,11.5), (20.825,12.11,21.315,12.17), (20.825,12.17,25.945,12.6), (20.825,12.6,21.315,12.66), (25.515,12.6,25.945,13.805), (26.775,12.62,47.055,12.91), (4.02,13.34,5.65,14.09), (13.19,13.35,14.82,14.1), (16.79,13.35,18.42,14.1), (25.515,13.805,47.535,14.235), (-5.565,15.34,52.125,15.89), (-5.57,16.59,52.13,17.15), (-5.5,17.84,52.08,18.4), (-3.25,19.06,47.22,19.62), (-3.215,20.28,47.215,20.83), (-3.245,21.53,51.995,22.08)])
A(neuron_labeled_extended_, via, 18.31, 1.03, 0.15, 0.15, 4, 2, 0.32, 0.32)
A(neuron_labeled_extended_, via, 4.28, 13.48, 0.15, 0.15, 4, 2, 0.32, 0.32)
A(neuron_labeled_extended_, via, 13.45, 13.49, 0.15, 0.15, 4, 2, 0.32, 0.32)
A(neuron_labeled_extended_, via, 17.05, 13.49, 0.15, 0.15, 4, 2, 0.32, 0.32)
R(neuron_labeled_extended_, via, [(51.65,1.675,51.8,1.825), (45.81,2.745,45.96,2.895), (39.84,3.805,39.99,3.955), (33.44,4.855,33.59,5.005), (21.555,5.665,21.705,5.815), (33.435,7.515,33.585,7.665), (39.815,7.515,39.965,7.665), (45.795,7.515,45.945,7.665), (51.675,7.515,51.825,7.665), (27.625,8.885,27.775,9.035), (33.815,8.885,33.965,9.035), (39.975,8.885,40.125,9.035), (46.225,8.885,46.375,9.035), (28.285,9.785,28.435,9.935), (34.575,9.785,34.725,9.935), (40.725,9.785,40.875,9.935), (47.005,9.785,47.155,9.935), (46.225,12.695,46.375,12.845), (39.975,13.935,40.125,14.085), (27.63,19.275,27.78,19.425), (33.83,20.49,33.98,20.64), (34.58,21.73,34.73,21.88), (47.03,21.73,47.18,21.88), (28.3,21.74,28.45,21.89), (40.73,21.74,40.88,21.89)])
R(neuron_labeled_extended_, met2, [(18.1,0.84,19.63,1.69), (51.47,1.48,51.98,2.02), (51.645,2.02,51.855,7.43), (45.63,2.55,46.14,3.09), (45.765,3.09,45.975,7.43), (39.66,3.61,40.17,4.15), (39.785,4.15,39.995,7.43), (33.26,4.66,33.77,5.2), (33.405,5.2,33.615,7.43), (21.47,5.53,21.79,5.58), (7.605,5.58,21.79,5.9), (21.47,5.9,21.79,5.95), (33.38,7.43,33.64,7.75), (39.76,7.43,40.02,7.75), (45.74,7.43,46,7.75), (51.62,7.43,51.88,7.75), (27.57,8.8,27.83,9.12), (33.76,8.8,34.02,9.12), (39.92,8.8,40.18,9.12), (46.17,8.8,46.43,9.12), (27.595,9.12,27.805,19.1), (33.785,9.12,33.995,20.32), (39.945,9.12,40.155,13.81), (46.195,9.12,46.405,12.58), (28.23,9.7,28.49,10.02), (34.52,9.7,34.78,10.02), (40.67,9.7,40.93,10.02), (46.95,9.7,47.21,10.02), (28.255,10.02,28.465,21.58), (34.545,10.02,34.755,21.57), (40.695,10.02,40.905,21.58), (46.975,10.02,47.185,21.57), (46.13,12.58,46.47,12.96), (4.07,13.29,5.6,14.14), (13.24,13.3,14.77,14.15), (16.84,13.3,18.37,14.15), (39.83,13.81,40.27,14.21), (27.46,19.1,27.95,19.6), (33.64,20.32,34.17,20.81), (34.41,21.57,34.9,22.04), (46.86,21.57,47.35,22.04), (28.13,21.58,28.62,22.05), (40.56,21.58,41.05,22.05)])
A(neuron_labeled_extended_, via2, 18.165, 0.965, 0.2, 0.2, 4, 2, 0.4, 0.4)
A(neuron_labeled_extended_, via2, 4.135, 13.415, 0.2, 0.2, 4, 2, 0.4, 0.4)
A(neuron_labeled_extended_, via2, 13.305, 13.425, 0.2, 0.2, 4, 2, 0.4, 0.4)
A(neuron_labeled_extended_, via2, 16.905, 13.425, 0.2, 0.2, 4, 2, 0.4, 0.4)
R(neuron_labeled_extended_, met3_5, [(-4.64,1.03,-4.11,1.56), (-5.21,13.4,-4.68,13.93)])
R(neuron_labeled_extended_, met3, [(19.39,0.69,20.6,0.705), (-5.055,0.705,24.64,1.895), (19.39,1.895,20.6,1.9), (-5.535,13.12,24.64,14.33)])
R(neuron_labeled_extended_, npc, [(14.56,-3.07,14.93,-2.7), (9.695,-1.775,10.065,-1.405), (-1.24,-0.635,-0.87,-0.265), (8.905,16.67,9.275,17.04), (10.95,17.925,11.32,18.295), (-1.005,19.145,-0.635,19.515), (12.085,20.355,12.455,20.725)])
neuron_labeled_extended_.add(gdstk.Reference(pmos_diff_amp, (48.745,8.285)))
neuron_labeled_extended_.add(gdstk.Reference(pmos_diff_amp, (42.385,8.285)))
neuron_labeled_extended_.add(gdstk.Reference(pmos_diff_amp, (36.255,8.285)))
neuron_labeled_extended_.add(gdstk.Reference(pmos_diff_amp, (30.005,8.285)))
neuron_labeled_extended_.add(gdstk.Reference(neuron_labeled, (1.82,3.39)))
neuron_labeled_extended_.add(gdstk.Label('v', (-2.865,19.315), layer=68, texttype=5))
neuron_labeled_extended_.add(gdstk.Label('u', (-2.855,20.525), layer=68, texttype=5))
neuron_labeled_extended_.add(gdstk.Label('a', (42.775,13.995), layer=68, texttype=5))
neuron_labeled_extended_.add(gdstk.Label('vau', (-5.195,18.04), layer=68, texttype=5))
neuron_labeled_extended_.add(gdstk.Label('vw', (-5.195,16.825), layer=68, texttype=5))
neuron_labeled_extended_.add(gdstk.Label('vth', (-5.225,15.545), layer=68, texttype=5))
neuron_labeled_extended_.add(gdstk.Label('vk', (-4.785,-0.505), layer=68, texttype=5))
neuron_labeled_extended_.add(gdstk.Label('vr', (-4.635,-1.645), layer=68, texttype=5))
neuron_labeled_extended_.add(gdstk.Label('vad', (-4.705,-2.895), layer=68, texttype=5))
neuron_labeled_extended_.add(gdstk.Label('vdd', (-4.945,13.665), layer=70, texttype=5))
neuron_labeled_extended_.add(gdstk.Label('vss', (-4.375,1.295), layer=70, texttype=5))
neuron_labeled_extended_.add(gdstk.Label('axon', (42.235,12.725), layer=68, texttype=5))
neuron_labeled_extended_.add(gdstk.Label('i_bias', (51.29,21.745), layer=68, texttype=5))
neuron_labeled_extended_.add(gdstk.Label('v_buff', (50.22,4.955), layer=68, texttype=5))
neuron_labeled_extended_.add(gdstk.Label('u_buff', (50.4,3.775), layer=68, texttype=5))
neuron_labeled_extended_.add(gdstk.Label('a_buff', (50.54,2.805), layer=68, texttype=5))
neuron_labeled_extended_.add(gdstk.Label('axon_buff', (50.94,1.755), layer=68, texttype=5))
neuron_labeled_extended_.add(gdstk.Label('vdd_aux', (52.495,11.325), layer=68, texttype=5))

lib.write_gds('neuron-labeled-extended-opamp.gds')
